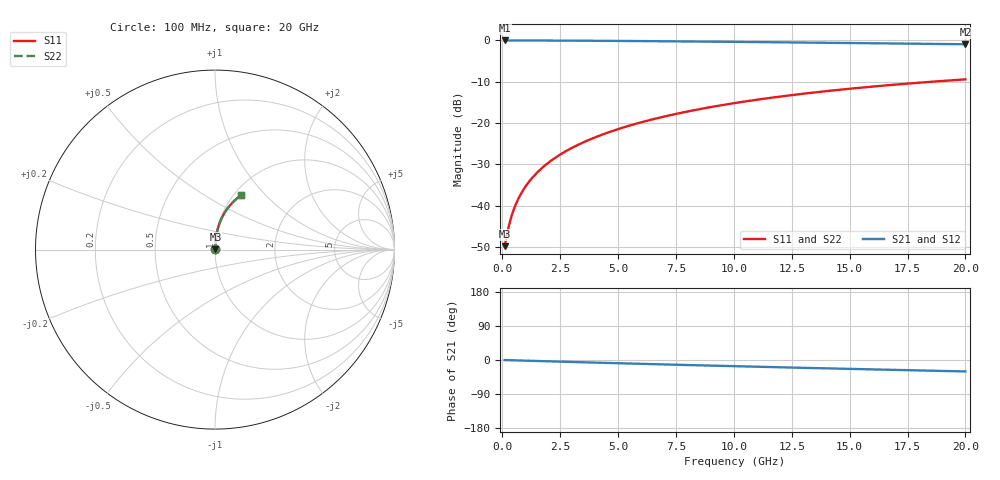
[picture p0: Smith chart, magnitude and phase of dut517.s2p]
! Touchstone file exported from HFSS 2024.1.0
!  File:  C:/UserFiles/LocalFiles/RDL_TSV_Batchsim/temp_RDL_top_517_1779679684.aedt
!  Generated:  11:30:26 AM May 25, 2026
!  Design:  RDL_top
!  Project:  temp_RDL_top_517_1779679684
!  Setup:  Setup1
!  Solution:  Sweep
! Variables:
!  dtsv = 10.80580581um
!  hbump = 3um
!  htsv = 70.41um
!  ldown = 100um
!  lrdl = 361.87um
!  p = 40
!  p1 = 55.91um
!  rhole = 1um
!  t = 450um
!  tdown = 3.915915916um
!  trdl = 2.65um
!  wdown = 15.38538539um
!  wrdl = 19.74um
# GHz S MA R 50.000000
! Terminal data exported
! Port[1] = Box2_T1
! Port[2] = Box2_T2
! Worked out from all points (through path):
!   200 points, 100 MHz to 20 GHz, reference 50 ohm
!   highest |S21| = -0.02 dB at 100 MHz (marker M1); lowest = -0.9 dB at 20 GHz (marker M2)
!   group delay of S21, straight-line fit = 4.17 ps
!   lowest |S11| = -49.8 dB at 100 MHz (marker M3), VSWR 1.01, Z = 50.3 + j0.176 ohm
!   |S11| at or under -10 dB: start of sweep to 18.59 GHz
!   |S22| runs from -49.8 to -9.4 dB; largest |S21 - S12| = 4.2e-15
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0.1  0.003224 32.9  0.9973 -0.2  0.9973 -0.2  0.003224 32.9
! Gamma 0 0 0 0
! Port Impedance 50 0 50 0
0.2  0.004452 51.5  0.9972 -0.4  0.9972 -0.4  0.004452 51.5
0.3  0.005923 61.2  0.9971 -0.5  0.9971 -0.5  0.005923 61.2
0.4  0.00747 66.7  0.997 -0.7  0.997 -0.7  0.00747 66.7
0.5  0.00904 70.3  0.9969 -0.9  0.9969 -0.9  0.00904 70.3
0.6  0.01062 72.9  0.9967 -1.1  0.9967 -1.1  0.01062 72.9
0.8  0.01378 76.2  0.9965 -1.4  0.9965 -1.4  0.01378 76.2
1.1  0.01856 79.3  0.9961 -1.9  0.9961 -1.9  0.01856 79.3
1.3  0.02178 80.6  0.9958 -2.3  0.9958 -2.3  0.02177 80.6
1.6  0.02663 81.9  0.9953 -2.8  0.9953 -2.8  0.02663 81.9
2.1  0.03481 83.3  0.9942 -3.7  0.9942 -3.7  0.03481 83.3
2.7  0.04477 84.1  0.9927 -4.7  0.9927 -4.7  0.04477 84.1
3.5  0.05827 84.4  0.9903 -6.0  0.9903 -6.0  0.05827 84.4
4.2  0.07028 84.4  0.9878 -7.2  0.9878 -7.2  0.07028 84.4
5  0.08421 84.0  0.9845 -8.5  0.9845 -8.5  0.08421 84.0
5.9  0.1001 83.3  0.9805 -10.0  0.9805 -10.0  0.1001 83.3
6.8  0.1162 82.5  0.9761 -11.4  0.9761 -11.4  0.1161 82.5
8.4  0.1449 80.6  0.9678 -13.9  0.9678 -13.9  0.1449 80.6
10.1  0.1753 78.4  0.9583 -16.5  0.9583 -16.5  0.1753 78.4
13.4  0.2328 73.6  0.9389 -21.2  0.9389 -21.2  0.2327 73.6
16.7  0.287 68.9  0.9182 -25.8  0.9182 -25.8  0.287 68.9
20  0.3372 64.3  0.8967 -30.2  0.8967 -30.2  0.3372 64.3
